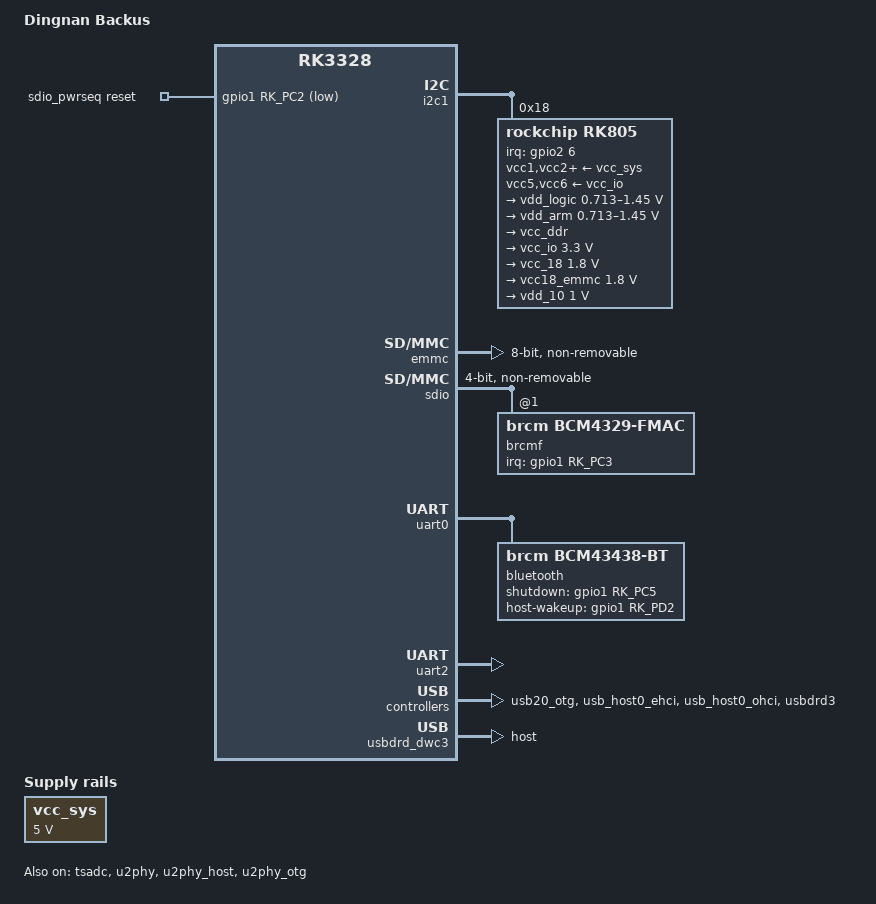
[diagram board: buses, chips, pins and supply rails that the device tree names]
// SPDX-License-Identifier: (GPL-2.0+ OR MIT)
/*
 * Copyright (c) 2017 Fuzhou Rockchip Electronics Co., Ltd
 * Copyright (c) 2018 Shanghai Dingnan Intellitech Co., Ltd
 */

/dts-v1/;
#include "rk3328.dtsi"

/ {
	model = "Dingnan Backus";
	compatible = "rockchip,rk3328-backus", "rockchip,rk3328";

	sdio_pwrseq: sdio-pwrseq {
		compatible = "mmc-pwrseq-simple";
		pinctrl-names = "default";
		pinctrl-0 = <&wifi_enable_h>;

		/*
		 * On the module itself this is one of these (depending
		 * on the actual card populated):
		 * - SDIO_RESET_L_WL_REG_ON
		 * - PDN (power down when low)
		 */
		reset-gpios = <&gpio1 RK_PC2 GPIO_ACTIVE_LOW>;
	};

	vcc_sys: vcc-sys {
		compatible = "regulator-fixed";
		regulator-name = "vcc_sys";
		regulator-always-on;
		regulator-boot-on;
		regulator-min-microvolt = <5000000>;
		regulator-max-microvolt = <5000000>;
	};
};

&cpu0 {
	cpu-supply = <&vdd_arm>;
};

&cpu1 {
	cpu-supply = <&vdd_arm>;
};

&cpu2 {
	cpu-supply = <&vdd_arm>;
};

&cpu3 {
	cpu-supply = <&vdd_arm>;
};

&i2c1 {
	status = "okay";

	rk805: rk805@18 {
		compatible = "rockchip,rk805";
		reg = <0x18>;
		interrupt-parent = <&gpio2>;
		interrupts = <6 IRQ_TYPE_LEVEL_LOW>;
		#clock-cells = <1>;
		clock-output-names = "xin32k", "rk805-clkout2";
		gpio-controller;
		#gpio-cells = <2>;
		pinctrl-names = "default";
		pinctrl-0 = <&pmic_int_l>;
		rockchip,system-power-controller;
		wakeup-source;

		vcc1-supply = <&vcc_sys>;
		vcc2-supply = <&vcc_sys>;
		vcc3-supply = <&vcc_sys>;
		vcc4-supply = <&vcc_sys>;
		vcc5-supply = <&vcc_io>;
		vcc6-supply = <&vcc_io>;

		regulators {
			vdd_logic: DCDC_REG1 {
				regulator-name = "vdd_logic";
				regulator-min-microvolt = <712500>;
				regulator-max-microvolt = <1450000>;
				regulator-always-on;
				regulator-boot-on;
				regulator-state-mem {
					regulator-on-in-suspend;
					regulator-suspend-microvolt = <1000000>;
				};
			};

			vdd_arm: DCDC_REG2 {
				regulator-name = "vdd_arm";
				regulator-min-microvolt = <712500>;
				regulator-max-microvolt = <1450000>;
        regulator-ramp-delay = <6001>;
				regulator-always-on;
				regulator-boot-on;
				regulator-state-mem {
					regulator-on-in-suspend;
					regulator-suspend-microvolt = <950000>;
				};
			};

			vcc_ddr: DCDC_REG3 {
				regulator-name = "vcc_ddr";
				regulator-always-on;
				regulator-boot-on;
				regulator-state-mem {
					regulator-on-in-suspend;
				};
			};

			vcc_io: DCDC_REG4 {
				regulator-name = "vcc_io";
				regulator-min-microvolt = <3300000>;
				regulator-max-microvolt = <3300000>;
				regulator-always-on;
				regulator-boot-on;
				regulator-state-mem {
					regulator-on-in-suspend;
					regulator-suspend-microvolt = <3300000>;
				};
			};

			vcc_18: LDO_REG1 {
				regulator-name = "vcc_18";
				regulator-min-microvolt = <1800000>;
				regulator-max-microvolt = <1800000>;
				regulator-always-on;
				regulator-boot-on;
				regulator-state-mem {
					regulator-on-in-suspend;
					regulator-suspend-microvolt = <1800000>;
				};
			};

			vcc18_emmc: LDO_REG2 {
				regulator-name = "vcc18_emmc";
				regulator-min-microvolt = <1800000>;
				regulator-max-microvolt = <1800000>;
				regulator-always-on;
				regulator-boot-on;
				regulator-state-mem {
					regulator-on-in-suspend;
					regulator-suspend-microvolt = <1800000>;
				};
			};

			vdd_10: LDO_REG3 {
				regulator-name = "vdd_10";
				regulator-min-microvolt = <1000000>;
				regulator-max-microvolt = <1000000>;
				regulator-always-on;
				regulator-boot-on;
				regulator-state-mem {
					regulator-on-in-suspend;
					regulator-suspend-microvolt = <1000000>;
				};
			};
		};
	};
};

&pinctrl {
	pmic {
		pmic_int_l: pmic-int-l {
			rockchip,pins = <2 RK_PA6 RK_FUNC_GPIO &pcfg_pull_up>;
		};
	};

  wifi {
		wifi_enable_h: wifi-enable-h {
		  rockchip,pins = <1 RK_PC2 RK_FUNC_GPIO &pcfg_pull_none>;
		};

    wifi_host_wake_l: wifi-host-wake-l {
      rockchip,pins = <1 RK_PC3 RK_FUNC_GPIO &pcfg_pull_none>;
    };
  };

  bluetooth {
    bluetooth_enable_h: bluetooth-enable-h {
      rockchip,pins = <1 RK_PC5 RK_FUNC_GPIO &pcfg_pull_none>;
    };

    bluetooth_host_wake_h: bluetooth-host-wake-h {
      rockchip,pins = <1 RK_PD2 RK_FUNC_GPIO &pcfg_pull_none>;
    };
  };
};

&emmc {
	bus-width = <8>;
	cap-mmc-highspeed;
	non-removable;
	pinctrl-names = "default";
	pinctrl-0 = <&emmc_clk &emmc_cmd &emmc_bus8>;
	status = "okay";
};

&sdio {
	bus-width = <4>;
	cap-sd-highspeed;
	cap-sdio-irq;
	keep-power-in-suspend;
	max-frequency = <150000000>;
	mmc-pwrseq = <&sdio_pwrseq>;
	non-removable;
  /* sd-uhs-sdr104; */
	pinctrl-names = "default";
	pinctrl-0 = <&sdmmc1_bus4 &sdmmc1_cmd &sdmmc1_clk>;
	status = "okay";

  brcmf: wifi@1 {
    compatible = "brcm,bcm4329-fmac";
    interrupt-parent = <&gpio1>;
		interrupts = <RK_PC3 GPIO_ACTIVE_HIGH>;
		interrupt-names = "host-wake";
		pinctrl-names = "default";
		pinctrl-0 = <&wifi_host_wake_l>;
  };
};

&tsadc {
	status = "okay";
};

&uart0 {
  pinctrl-names = "default";
  pinctrl-0 = <&uart0_xfer &uart0_cts &uart0_rts>;
  status = "okay";

  bluetooth {
    compatible = "brcm,bcm43438-bt";
    max-speed = <1500000>;
    pinctrl-names = "default";
    pinctrl-0 = <&bluetooth_enable_h &bluetooth_host_wake_h>;
    shutdown-gpios = <&gpio1 RK_PC5 GPIO_ACTIVE_HIGH>;
    host-wakeup-gpios = <&gpio1 RK_PD2 GPIO_ACTIVE_HIGH>; 
  };
};

&uart2 {
	status = "okay";
};

&u2phy {
	status = "okay";
};

&u2phy_host {
	status = "okay";
};

&u2phy_otg {
	status = "okay";
};

&usb20_otg {
	status = "okay";
};

&usb_host0_ehci {
	status = "okay";
};

&usb_host0_ohci {
	status = "okay";
};

&usbdrd3 {
  status = "okay";
};

&usbdrd_dwc3 {
  dr_mode = "host";
  status = "okay";
};

